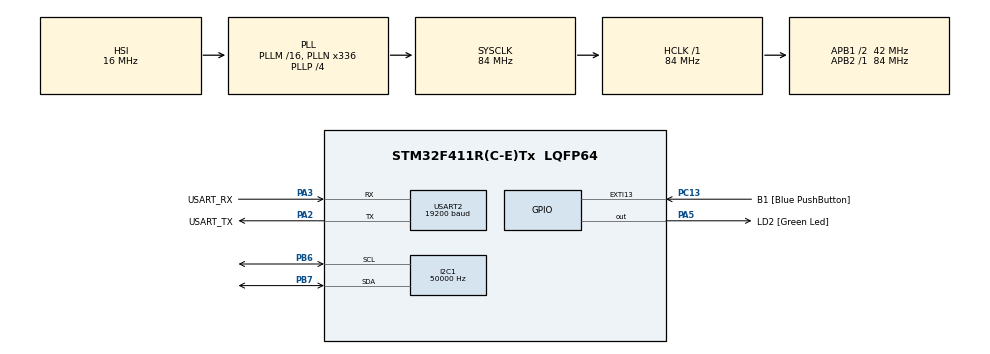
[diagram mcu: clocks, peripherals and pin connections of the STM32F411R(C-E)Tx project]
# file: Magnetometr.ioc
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I2C1.ClockSpeed=50000
I2C1.I2C_Mode=I2C_Standard
Mcu.Family=STM32F4
Mcu.Name=STM32F411R(C-E)Tx
Mcu.Package=LQFP64
NVIC.PriorityGroup=NVIC_PRIORITYGROUP_0
NVIC.TIM2_IRQn=true\:0\:0\:false\:false\:true\:true\:true
NVIC.USART2_IRQn=true\:0\:0\:false\:false\:true\:true\:true
PA13.GPIO_Label=TMS
PA13.Mode=Serial_Wire
PA13.Signal=SYS_JTMS-SWDIO
PA14.GPIO_Label=TCK
PA14.Mode=Serial_Wire
PA14.Signal=SYS_JTCK-SWCLK
PA2.GPIO_Label=USART_TX
PA2.Mode=Asynchronous
PA2.Signal=USART2_TX
PA3.GPIO_Label=USART_RX
PA3.Mode=Asynchronous
PA3.Signal=USART2_RX
PA5.GPIO_Label=LD2 [Green Led]
PA5.Signal=GPIO_Output
PB3.GPIO_Label=SWO
PB3.Signal=SYS_JTDO-SWO
PB6.GPIO_Pu=GPIO_PULLUP
PB6.Mode=I2C
PB6.Signal=I2C1_SCL
PB7.GPIO_Pu=GPIO_PULLUP
PB7.Mode=I2C
PB7.Signal=I2C1_SDA
PC13-ANTI_TAMP.GPIO_Label=B1 [Blue PushButton]
PC13-ANTI_TAMP.GPIO_ModeDefaultEXTI=GPIO_MODE_IT_FALLING
PC13-ANTI_TAMP.Signal=GPXTI13
PC14-OSC32_IN.Mode=LSE-External-Oscillator
PC14-OSC32_IN.Signal=RCC_OSC32_IN
PC15-OSC32_OUT.Mode=LSE-External-Oscillator
PC15-OSC32_OUT.Signal=RCC_OSC32_OUT
PH0\ -\ OSC_IN.Mode=HSE-External-Clock-Source
PH0\ -\ OSC_IN.Signal=RCC_OSC_IN
PH1\ -\ OSC_OUT.Mode=HSE-External-Clock-Source
PH1\ -\ OSC_OUT.Signal=RCC_OSC_OUT
ProjectManager.HeapSize=0x200
ProjectManager.StackSize=0x400
ProjectManager.TargetToolchain=STM32CubeIDE
RCC.48MHZClocksFreq_Value=84000000
RCC.AHBFreq_Value=84000000
RCC.APB1CLKDivider=RCC_HCLK_DIV2
RCC.APB1Freq_Value=42000000
RCC.APB1TimFreq_Value=84000000
RCC.APB2Freq_Value=84000000
RCC.APB2TimFreq_Value=84000000
RCC.CortexFreq_Value=84000000
RCC.FLatency-AdvancedSettings=FLASH_LATENCY_2
RCC.HCLKFreq_Value=84000000
RCC.HSE_VALUE=8000000
RCC.HSI_VALUE=16000000
RCC.PLLN=336
RCC.PLLP=RCC_PLLP_DIV4
RCC.SYSCLKFreq_VALUE=84000000
RCC.SYSCLKSource=RCC_SYSCLKSOURCE_PLLCLK
RCC.VCOOutputFreq_Value=336000000
TIM2.Prescaler=8399
USART2.BaudRate=19200
USART2.VirtualMode=VM_ASYNC
VP_TIM2_VS_ClockSourceINT.Mode=Internal
board=NUCLEO-F411RE

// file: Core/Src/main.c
/* USER CODE BEGIN Header */
/**
  ******************************************************************************
  * @file           : main.c
  * @brief          : Main program body
  ******************************************************************************
  * @attention
  *
  * <h2><center>&copy; Copyright (c) 2021 STMicroelectronics.
  * All rights reserved.</center></h2>
  *
  * This software component is licensed by ST under BSD 3-Clause license,
  * the "License"; You may not use this file except in compliance with the
  * License. You may obtain a copy of the License at:
  *                        opensource.org/licenses/BSD-3-Clause
  *
  ******************************************************************************
  */
/* USER CODE END Header */
#include "main.h"
#include "i2c.h"
#include "tim.h"
#include "usart.h"
#include "gpio.h"

/* USER CODE BEGIN Includes */
#include "mlx90393.h"
#include "stdio.h"
#include "string.h"
/* USER CODE END Includes */

void SystemClock_Config(void);

int main(void)
{

  /* MCU Configuration--------------------------------------------------------*/

  /* Reset of all peripherals, Initializes the Flash interface and the Systick. */
  HAL_Init();

  /* Configure the system clock */
  SystemClock_Config();

  /* Initialize all configured peripherals */
  MX_GPIO_Init();
  MX_TIM2_Init();
  MX_USART2_UART_Init();
  MX_I2C1_Init();
  /* USER CODE BEGIN 2 */
  HAL_UART_Init(&huart2);
  __HAL_RCC_I2C1_CLK_ENABLE();		// enable clock signal for I2C

  HAL_Delay(100);

  char Data[255];
  char inf_temp[121];
  char* information_to_UART = "";
  uint8_t values[8];
  conf_state = WAIT_FOR_GUI;
  bool flag = true;

  /* USER CODE END 2 */

  /* Infinite loop */
  /* USER CODE BEGIN WHILE */
  while (1)
  {
	  switch(conf_state)
	  {
	  	  case WAIT_FOR_GUI: // waiting for data to appear on UART

	  		if(flag)
	  		{
		  		HAL_UART_Receive(&huart2, values, 8, HAL_MAX_DELAY);
		  		store_data_from_gui_to_struct(values, &gui_settings); // send data from array with achieved data from gui to struct
		  		flag = false;
		  		HAL_Delay(100);
		  		continue;
	  		}

	  		HAL_UART_Receive(&huart2, values, 8, HAL_MAX_DELAY);
	  		store_data_from_gui_to_struct(values, &gui_settings); // send data from array with achieved data from gui to struct

	  		switch(values[7])
	  		{
	  			case 0:
	  				conf_state = READ_VM_MEMORY;
	  				information_to_UART = "Reading VM memory...";
	  				HAL_UART_Transmit(&huart2, (uint8_t*)information_to_UART, strlen(information_to_UART), HAL_MAX_DELAY);
	  				HAL_Delay(10);

	  				break;
	  			case 1:
		  			conf_state = WRITE_NVM_MEMORY;
	  				information_to_UART = "Storing volatile memory to non-volatile memory...";
	  				HAL_UART_Transmit(&huart2, (uint8_t*)information_to_UART, strlen(information_to_UART), HAL_MAX_DELAY);
	  				HAL_Delay(100);

		  			break;
	  			case 2:
	  				conf_state = CALIBRATION;
	  				information_to_UART = "Calibration is starting...";
	  				HAL_UART_Transmit(&huart2, (uint8_t*)information_to_UART, strlen(information_to_UART), HAL_MAX_DELAY);
	  				HAL_Delay(100);

	  				break;
	  			default:
	  				information_to_UART = "Wrong mode!";
	  				HAL_UART_Transmit(&huart2, (uint8_t*)information_to_UART, strlen(information_to_UART), HAL_MAX_DELAY);
	  				break;
	  		}

	  		  break;
	  	  case READ_VM_MEMORY:	// get current settings, pack to structure and send over UART // mode 0

	  		slave_settings.gain = get_gain();
	  		slave_settings.osr = get_osr();
	  		slave_settings.dig_filter = get_filter();
	  		slave_settings.res_x = get_resolution_X();
			slave_settings.res_y = get_resolution_Y();
			slave_settings.res_z = get_resolution_Z();
			slave_settings.offset_x = get_offset_X();
			slave_settings.offset_y = get_offset_Y();
			slave_settings.offset_z = get_offset_Z();

			sprintf((char*)inf_temp, 	"Gain: %d\n"\
										"OSR: %d\n"\
										"Digital filter: %d\n"\
										"Resolution X: %d\n"\
										"Resolution Y: %d\n"\
										"Resolution Z: %d\n"\
										"VM memory reading completed successfully.",\
										slave_settings.gain, slave_settings.osr,\
										slave_settings.dig_filter, slave_settings.res_x,\
										slave_settings.res_y, slave_settings.res_z);

			HAL_UART_Transmit(&huart2, (uint8_t*)inf_temp, strlen(inf_temp), HAL_MAX_DELAY);
			conf_state = WAIT_FOR_GUI;

	  		  break;
	  	  case WRITE_NVM_MEMORY:	// write VM to NVM // mode 1

	  		if(OK == write_non_volatile_mem())
	  		{
	  			information_to_UART = "Data storage in NVM completed successfully.";
	  			HAL_UART_Transmit(&huart2, (uint8_t*)information_to_UART, strlen(information_to_UART), HAL_MAX_DELAY);
	  			conf_state = WAIT_FOR_GUI;
	  		}

	  		  break;
	  	  case CALIBRATION:	// calibration

	  		HAL_GPIO_WritePin(LD2_GPIO_Port, LD2_Pin, GPIO_PIN_SET);

	  		// set parameters according to data from GUI
//	  		set_offsets(gui_settings.field_intensity);
	  		set_gain(gui_settings.gain);
	  		set_osr(gui_settings.osr);
	  		set_filter(gui_settings.dig_filter);
	  		set_resolution_X(gui_settings.res_x);
	  		set_resolution_Y(gui_settings.res_y);
	  		set_resolution_Z(gui_settings.res_z);

	  		// store them in struct
	  		slave_settings.gain = get_gain();
	  		slave_settings.osr = get_osr();
	  		slave_settings.dig_filter = get_filter();
	  		slave_settings.res_x = get_resolution_X();
	  		slave_settings.res_y = get_resolution_Y();
	  		slave_settings.res_z = get_resolution_Z();
	  		slave_settings.offset_x = get_offset_X();
	  		slave_settings.offset_y = get_offset_Y();
	  		slave_settings.offset_z = get_offset_Z();
	  		set_multipliers(&multiplier_x, &multiplier_y, &multiplier_z);

	  		HAL_GPIO_WritePin(LD2_GPIO_Port, LD2_Pin, GPIO_PIN_RESET);
	  		information_to_UART = "Calibration completed successfully.";
	  		HAL_UART_Transmit(&huart2, (uint8_t*)information_to_UART, strlen(information_to_UART), HAL_MAX_DELAY);
			conf_state = WAIT_FOR_GUI;

	  		  break;
	  	  default:
	  		  conf_state = WAIT_FOR_GUI;
	  		  break;
	  }

//	read_measure_X(&mlx_data);
//	calc_data.x = (mlx_data.X_axis + slave_settings.offset_x) * multiplier_x;
//	read_measure_Y(&mlx_data);
//	calc_data.y = (mlx_data.Y_axis + slave_settings.offset_y) * multiplier_y;
//	read_measure_Z(&mlx_data);
//	calc_data.z = (mlx_data.Z_axis + slave_settings.offset_z) * multiplier_z;

//	sprintf((char*) Data, "%4.2f\t%4.2f\t%4.2f\r\n", calc_data.x, calc_data.y, calc_data.z);
//	HAL_UART_Transmit(&huart2, Data, strlen(Data), HAL_MAX_DELAY);

//	HAL_Delay(100);
//	HAL_UART_Transmit(&huart2, "\n", 1, HAL_MAX_DELAY);

    /* USER CODE END WHILE */

  }
}

void SystemClock_Config(void)
{
  RCC_OscInitTypeDef RCC_OscInitStruct = {0};
  RCC_ClkInitTypeDef RCC_ClkInitStruct = {0};

  /** Configure the main internal regulator output voltage
  */
  __HAL_RCC_PWR_CLK_ENABLE();
  __HAL_PWR_VOLTAGESCALING_CONFIG(PWR_REGULATOR_VOLTAGE_SCALE1);
  /** Initializes the RCC Oscillators according to the specified parameters
  * in the RCC_OscInitTypeDef structure.
  */
  RCC_OscInitStruct.OscillatorType = RCC_OSCILLATORTYPE_HSI;
  RCC_OscInitStruct.HSIState = RCC_HSI_ON;
  RCC_OscInitStruct.HSICalibrationValue = RCC_HSICALIBRATION_DEFAULT;
  RCC_OscInitStruct.PLL.PLLState = RCC_PLL_ON;
  RCC_OscInitStruct.PLL.PLLSource = RCC_PLLSOURCE_HSI;
  RCC_OscInitStruct.PLL.PLLM = 16;
  RCC_OscInitStruct.PLL.PLLN = 336;
  RCC_OscInitStruct.PLL.PLLP = RCC_PLLP_DIV4;
  RCC_OscInitStruct.PLL.PLLQ = 4;
  if (HAL_RCC_OscConfig(&RCC_OscInitStruct) != HAL_OK)
  {
    Error_Handler();
  }
  /** Initializes the CPU, AHB and APB buses clocks
  */
  RCC_ClkInitStruct.ClockType = RCC_CLOCKTYPE_HCLK|RCC_CLOCKTYPE_SYSCLK
                              |RCC_CLOCKTYPE_PCLK1|RCC_CLOCKTYPE_PCLK2;
  RCC_ClkInitStruct.SYSCLKSource = RCC_SYSCLKSOURCE_PLLCLK;
  RCC_ClkInitStruct.AHBCLKDivider = RCC_SYSCLK_DIV1;
  RCC_ClkInitStruct.APB1CLKDivider = RCC_HCLK_DIV2;
  RCC_ClkInitStruct.APB2CLKDivider = RCC_HCLK_DIV1;

  if (HAL_RCC_ClockConfig(&RCC_ClkInitStruct, FLASH_LATENCY_2) != HAL_OK)
  {
    Error_Handler();
  }
}

void Error_Handler(void)
{
  __disable_irq();
  while (1)
  {
  }
}

/************************ (C) COPYRIGHT STMicroelectronics *****END OF FILE****/
